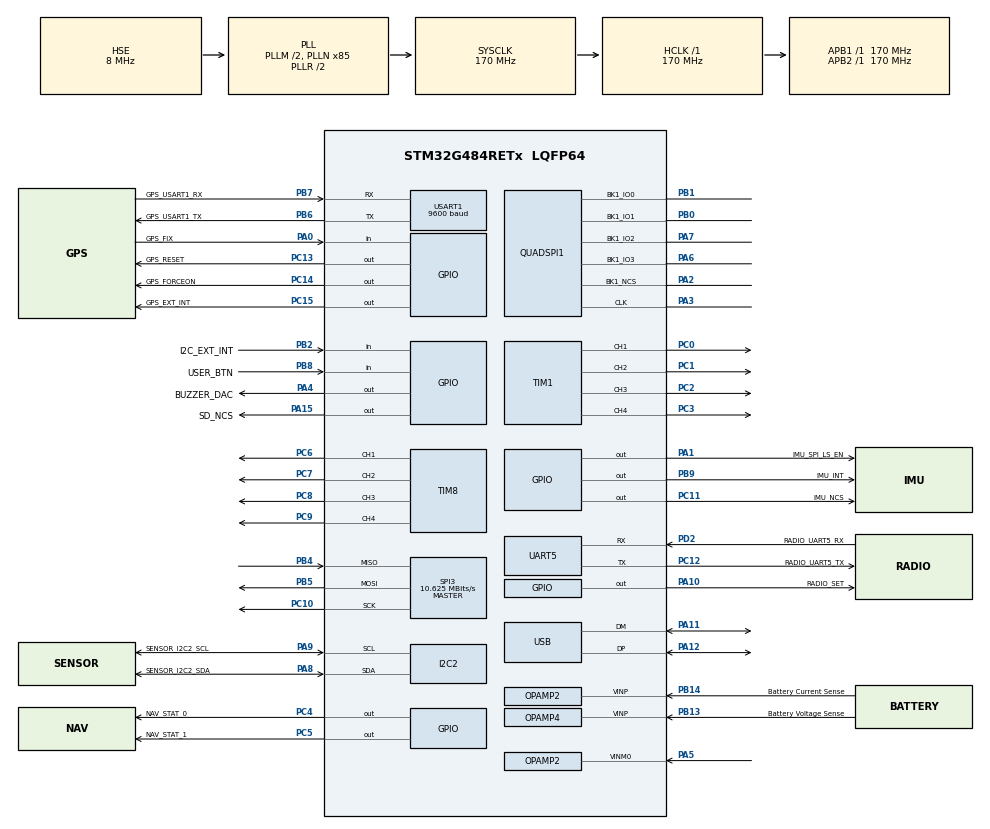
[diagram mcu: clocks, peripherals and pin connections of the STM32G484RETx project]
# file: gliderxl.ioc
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ADC2.Channel-1\#ChannelRegularConversion=ADC_CHANNEL_VOPAMP2
ADC2.ClockPrescaler=ADC_CLOCK_SYNC_PCLK_DIV4
ADC2.ContinuousConvMode=ENABLE
ADC2.NbrOfConversion=1
ADC2.NbrOfConversionFlag=1
ADC2.OffsetNumber-1\#ChannelRegularConversion=ADC_OFFSET_NONE
ADC2.Rank-1\#ChannelRegularConversion=1
ADC2.SamplingTime-1\#ChannelRegularConversion=ADC_SAMPLETIME_2CYCLES_5
ADC5.Channel-0\#ChannelRegularConversion=ADC_CHANNEL_VOPAMP4
ADC5.ClockPrescaler=ADC_CLOCK_SYNC_PCLK_DIV4
ADC5.ContinuousConvMode=ENABLE
ADC5.NbrOfConversionFlag=1
ADC5.OffsetNumber-0\#ChannelRegularConversion=ADC_OFFSET_NONE
ADC5.Rank-0\#ChannelRegularConversion=1
ADC5.SamplingTime-0\#ChannelRegularConversion=ADC_SAMPLETIME_2CYCLES_5
Dma.Request0=SPI3_RX
Dma.Request1=SPI3_TX
Dma.SPI3_RX.0.Direction=DMA_PERIPH_TO_MEMORY
Dma.SPI3_RX.0.EventEnable=DISABLE
Dma.SPI3_RX.0.Instance=DMA1_Channel2
Dma.SPI3_RX.0.MemDataAlignment=DMA_MDATAALIGN_BYTE
Dma.SPI3_RX.0.MemInc=DMA_MINC_ENABLE
Dma.SPI3_RX.0.Mode=DMA_NORMAL
Dma.SPI3_RX.0.PeriphDataAlignment=DMA_PDATAALIGN_BYTE
Dma.SPI3_RX.0.PeriphInc=DMA_PINC_DISABLE
Dma.SPI3_RX.0.Polarity=HAL_DMAMUX_REQ_GEN_RISING
Dma.SPI3_RX.0.Priority=DMA_PRIORITY_LOW
Dma.SPI3_RX.0.RequestNumber=1
Dma.SPI3_RX.0.SignalID=NONE
Dma.SPI3_RX.0.SyncEnable=DISABLE
Dma.SPI3_RX.0.SyncPolarity=HAL_DMAMUX_SYNC_NO_EVENT
Dma.SPI3_RX.0.SyncRequestNumber=1
Dma.SPI3_RX.0.SyncSignalID=NONE
Dma.SPI3_TX.1.Direction=DMA_MEMORY_TO_PERIPH
Dma.SPI3_TX.1.EventEnable=DISABLE
Dma.SPI3_TX.1.Instance=DMA1_Channel3
Dma.SPI3_TX.1.MemDataAlignment=DMA_MDATAALIGN_BYTE
Dma.SPI3_TX.1.MemInc=DMA_MINC_ENABLE
Dma.SPI3_TX.1.Mode=DMA_NORMAL
Dma.SPI3_TX.1.PeriphDataAlignment=DMA_PDATAALIGN_BYTE
Dma.SPI3_TX.1.PeriphInc=DMA_PINC_DISABLE
Dma.SPI3_TX.1.Polarity=HAL_DMAMUX_REQ_GEN_RISING
Dma.SPI3_TX.1.Priority=DMA_PRIORITY_LOW
Dma.SPI3_TX.1.RequestNumber=1
Dma.SPI3_TX.1.SignalID=NONE
Dma.SPI3_TX.1.SyncEnable=DISABLE
Dma.SPI3_TX.1.SyncPolarity=HAL_DMAMUX_SYNC_NO_EVENT
Dma.SPI3_TX.1.SyncRequestNumber=1
Dma.SPI3_TX.1.SyncSignalID=NONE
I2C2.Timing=0x30A0A7FB
Mcu.Family=STM32G4
Mcu.Name=STM32G484RETx
Mcu.Package=LQFP64
NVIC.DMA1_Channel2_IRQn=true\:0\:0\:false\:false\:true\:false\:true
NVIC.DMA1_Channel3_IRQn=true\:0\:0\:false\:false\:true\:false\:true
NVIC.PriorityGroup=NVIC_PRIORITYGROUP_4
NVIC.TIM6_DAC_IRQn=true\:0\:0\:false\:false\:true\:false\:true
NVIC.USART1_IRQn=true\:0\:0\:false\:false\:true\:true\:true
NVIC.USB_LP_IRQn=true\:0\:0\:false\:false\:true\:false\:true
OPAMP2.PgaGain=OPAMP_PGA_GAIN_4_OR_MINUS_3
PA0.GPIO_Label=GPS_FIX
PA0.Signal=GPIO_Input
PA1.GPIO_Label=IMU_SPI_LS_EN
PA1.Signal=GPIO_Output
PA10.GPIO_Label=RADIO_SET
PA10.Signal=GPIO_Output
PA11.Mode=Device
PA11.Signal=USB_DM
PA12.Mode=Device
PA12.Signal=USB_DP
PA13.Mode=Trace_Asynchronous_SW
PA13.Signal=SYS_JTMS-SWDIO
PA14.Mode=Trace_Asynchronous_SW
PA14.Signal=SYS_JTCK-SWCLK
PA15.GPIO_Label=SD_NCS
PA15.Signal=GPIO_Output
PA2.GPIO_PuPd=GPIO_PULLUP
PA2.GPIO_Speed=GPIO_SPEED_FREQ_VERY_HIGH
PA2.Mode=Single Bank 1
PA2.Signal=QUADSPI1_BK1_NCS
PA3.GPIO_PuPd=GPIO_NOPULL
PA3.GPIO_Speed=GPIO_SPEED_FREQ_VERY_HIGH
PA3.Mode=Single Bank 1
PA3.Signal=QUADSPI1_CLK
PA4.GPIO_Label=BUZZER_DAC
PA4.Signal=GPIO_Output
PA5.Mode=PGA_Internally_Connected
PA5.Signal=OPAMP2_VINM0
PA6.GPIO_PuPd=GPIO_NOPULL
PA6.GPIO_Speed=GPIO_SPEED_FREQ_VERY_HIGH
PA6.Mode=Single Bank 1
PA6.Signal=QUADSPI1_BK1_IO3
PA7.GPIO_Speed=GPIO_SPEED_FREQ_VERY_HIGH
PA7.Mode=Single Bank 1
PA7.Signal=QUADSPI1_BK1_IO2
PA8.GPIO_Label=SENSOR_I2C2_SDA
PA8.Mode=I2C
PA8.Signal=I2C2_SDA
PA9.GPIO_Label=SENSOR_I2C2_SCL
PA9.Mode=I2C
PA9.Signal=I2C2_SCL
PB0.GPIO_Speed=GPIO_SPEED_FREQ_VERY_HIGH
PB0.Mode=Single Bank 1
PB0.Signal=QUADSPI1_BK1_IO1
PB1.GPIO_Speed=GPIO_SPEED_FREQ_VERY_HIGH
PB1.Mode=Single Bank 1
PB1.Signal=QUADSPI1_BK1_IO0
PB11.GPIO_Label=HPS_A_TIM2_CH4
PB11.Signal=S_TIM2_CH4
PB12.GPIO_Label=HPS Current Sense A
PB12.Signal=OPAMP6_VINP
PB13.GPIO_Label=Battery Voltage Sense
PB13.Mode=Follower_Internally_Connected
PB13.Signal=OPAMP4_VINP
PB14.GPIO_Label=Battery Current Sense
PB14.Mode=PGA_Internally_Connected
PB14.Signal=OPAMP2_VINP
PB2.GPIO_Label=I2C_EXT_INT
PB2.Signal=GPIO_Input
PB3.Mode=Trace_Asynchronous_SW
PB3.Signal=SYS_JTDO-SWO
PB4.Mode=Full_Duplex_Master
PB4.Signal=SPI3_MISO
PB5.Mode=Full_Duplex_Master
PB5.Signal=SPI3_MOSI
PB6.GPIO_Label=GPS_USART1_TX
PB6.Mode=Asynchronous
PB6.Signal=USART1_TX
PB6.Stacked=true
PB7.GPIO_Label=GPS_USART1_RX
PB7.Mode=Asynchronous
PB7.Signal=USART1_RX
PB7.Stacked=true
PB8-BOOT0.GPIO_Label=USER_BTN
PB8-BOOT0.Signal=GPIO_Input
PB9.GPIO_Label=IMU_INT
PB9.Signal=GPIO_Output
PC0.Signal=S_TIM1_CH1
PC0.Stacked=true
PC1.Signal=S_TIM1_CH2
PC1.Stacked=true
PC10.Mode=Full_Duplex_Master
PC10.Signal=SPI3_SCK
PC11.GPIO_Label=IMU_NCS
PC11.PinState=GPIO_PIN_SET
PC11.Signal=GPIO_Output
PC12.GPIO_Label=RADIO_UART5_TX
PC12.Mode=Asynchronous
PC12.Signal=UART5_TX
PC13.GPIO_Label=GPS_RESET
PC13.Signal=GPIO_Output
PC14-OSC32_IN.GPIO_Label=GPS_FORCEON
PC14-OSC32_IN.Signal=GPIO_Output
PC15-OSC32_OUT.GPIO_Label=GPS_EXT_INT
PC15-OSC32_OUT.Signal=GPIO_Output
PC2.Signal=S_TIM1_CH3
PC2.Stacked=true
PC3.Signal=S_TIM1_CH4
PC4.GPIO_Label=NAV_STAT_0
PC4.Signal=GPIO_Output
PC5.GPIO_Label=NAV_STAT_1
PC5.Signal=GPIO_Output
PC6.Signal=S_TIM8_CH1
PC6.Stacked=true
PC7.Signal=S_TIM8_CH2
PC7.Stacked=true
PC8.Signal=S_TIM8_CH3
PC8.Stacked=true
PC9.Signal=S_TIM8_CH4
PC9.Stacked=true
PD2.GPIO_Label=RADIO_UART5_RX
PD2.Mode=Asynchronous
PD2.Signal=UART5_RX
PF0-OSC_IN.Mode=HSE-External-Oscillator
PF0-OSC_IN.Signal=RCC_OSC_IN
PF1-OSC_OUT.Mode=HSE-External-Oscillator
PF1-OSC_OUT.Signal=RCC_OSC_OUT
ProjectManager.HeapSize=0x200
ProjectManager.StackSize=0x400
ProjectManager.TargetToolchain=Makefile
QUADSPI1.ClockPrescaler=2
RCC.ADC12Freq_Value=170000000
RCC.ADC345Freq_Value=170000000
RCC.AHBFreq_Value=170000000
RCC.APB1Freq_Value=170000000
RCC.APB1TimFreq_Value=170000000
RCC.APB2Freq_Value=170000000
RCC.APB2TimFreq_Value=170000000
RCC.CK48CLockSelection=RCC_USBCLKSOURCE_HSI48
RCC.CortexFreq_Value=170000000
RCC.EXTERNAL_CLOCK_VALUE=12288000
RCC.HCLKFreq_Value=170000000
RCC.HSE_VALUE=8000000
RCC.HSI48_VALUE=48000000
RCC.HSI_VALUE=16000000
RCC.LSE_VALUE=32768
RCC.PLLM=RCC_PLLM_DIV2
RCC.PLLN=85
RCC.PLLP=RCC_PLLP_DIV4
RCC.PLLSourceVirtual=RCC_PLLSOURCE_HSE
RCC.QSPICLockSelection=RCC_QSPICLKSOURCE_PLL
RCC.SYSCLKFreq_VALUE=170000000
RCC.SYSCLKSource=RCC_SYSCLKSOURCE_PLLCLK
RCC.USBFreq_Value=48000000
RCC.VCOOutputFreq_Value=340000000
SH.S_TIM1_CH1.0=TIM1_CH1,PWM Generation1 CH1
SH.S_TIM1_CH2.0=TIM1_CH2,PWM Generation2 CH2
SH.S_TIM1_CH3.0=TIM1_CH3,PWM Generation3 CH3
SH.S_TIM1_CH4.0=TIM1_CH4,PWM Generation4 CH4
SH.S_TIM2_CH4.0=TIM2_CH4
SH.S_TIM8_CH1.0=TIM8_CH1,PWM Generation1 CH1
SH.S_TIM8_CH2.0=TIM8_CH2,PWM Generation2 CH2
SH.S_TIM8_CH3.0=TIM8_CH3,PWM Generation3 CH3
SH.S_TIM8_CH4.0=TIM8_CH4,PWM Generation4 CH4
SPI3.BaudRatePrescaler=SPI_BAUDRATEPRESCALER_16
SPI3.CLKPhase=SPI_PHASE_1EDGE
SPI3.CalculateBaudRate=10.625 MBits/s
SPI3.DataSize=SPI_DATASIZE_8BIT
SPI3.Direction=SPI_DIRECTION_2LINES
SPI3.Mode=SPI_MODE_MASTER
SPI3.NSSPMode=SPI_NSS_PULSE_ENABLE
SPI3.VirtualType=VM_MASTER
SYS.VoltageScaling=SYSCFG_VREFBUF_VOLTAGE_SCALE1
TIM1.Channel-PWM\ Generation1\ CH1=TIM_CHANNEL_1
TIM1.Channel-PWM\ Generation2\ CH2=TIM_CHANNEL_2
TIM1.Channel-PWM\ Generation3\ CH3=TIM_CHANNEL_3
TIM1.Channel-PWM\ Generation4\ CH4=TIM_CHANNEL_4
TIM20.Channel-Output\ Compare6\ No\ Output=TIM_CHANNEL_6
TIM8.Channel-PWM\ Generation1\ CH1=TIM_CHANNEL_1
TIM8.Channel-PWM\ Generation2\ CH2=TIM_CHANNEL_2
TIM8.Channel-PWM\ Generation3\ CH3=TIM_CHANNEL_3
TIM8.Channel-PWM\ Generation4\ CH4=TIM_CHANNEL_4
USART1.BaudRate=9600
USART1.VirtualMode-Asynchronous=VM_ASYNC
USB_DEVICE.CLASS_NAME_FS=CDC
USB_DEVICE.VirtualMode=Cdc
USB_DEVICE.VirtualModeFS=Cdc_FS
VP_ADC2_OPAMP_INTERNAL2.Mode=IN-OPAMP2
VP_ADC5_OPAMP_INTERNAL4.Mode=IN-OPAMP4
VP_DAC3_VS_DACI1.Mode=DAC_OUT1_Int
VP_FATFS_VS_Generic.Mode=User_defined
VP_SYS_VS_DBSignals.Mode=DisableDeadBatterySignals
VP_TIM20_VS_no_output6.Mode=Output Compare6 No Output
VP_USB_DEVICE_VS_USB_DEVICE_CDC_FS.Mode=CDC_FS
VREF+.Mode=InternalMode
VREF+.Signal=VREFBUF_OUT
board=custom

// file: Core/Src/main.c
/* USER CODE BEGIN Header */
/**
  ******************************************************************************
  * @file           : main.c
  * @brief          : Main program body
  ******************************************************************************
  * @attention
  *
  * <h2><center>&copy; Copyright (c) 2021 STMicroelectronics.
  * All rights reserved.</center></h2>
  *
  * This software component is licensed by ST under BSD 3-Clause license,
  * the "License"; You may not use this file except in compliance with the
  * License. You may obtain a copy of the License at:
  *                        opensource.org/licenses/BSD-3-Clause
  *
  ******************************************************************************
  */
/* USER CODE END Header */
#include "main.h"
#include "adc.h"
#include "dac.h"
#include "dma.h"
#include "app_fatfs.h"
#include "i2c.h"
#include "opamp.h"
#include "quadspi.h"
#include "spi.h"
#include "tim.h"
#include "usart.h"
#include "usb_device.h"
#include "gpio.h"

/* USER CODE BEGIN Includes */
#include <stdio.h>
#include <string.h>
#include <stdarg.h>
#include "ICM_20948_C.h"
#include <math.h>
#include "ssd1306.h"
#include "ssd1306_tests.h"
#include "ms5637.h"
#include "lwgps.h"
#include "lwrb.h"
/* USER CODE END Includes */

/* USER CODE BEGIN PD */
//#define USE_SPI
ICM_20948_Status_e my_write_spi(uint8_t reg, uint8_t* data, uint32_t len, void* user) {
  HAL_GPIO_WritePin(IMU_NCS_GPIO_Port, IMU_NCS_Pin, GPIO_PIN_RESET);
  uint8_t wa = (reg & 0x7F);
  HAL_SPI_Transmit(&hspi3, &wa, 1, 100);
  HAL_SPI_Transmit(&hspi3, data, len, 100);
  HAL_GPIO_WritePin(IMU_NCS_GPIO_Port, IMU_NCS_Pin, GPIO_PIN_SET);
  return ICM_20948_Stat_Ok;
}
ICM_20948_Status_e my_read_spi(uint8_t reg, uint8_t* buff, uint32_t len, void* user) {
  HAL_GPIO_WritePin(IMU_NCS_GPIO_Port, IMU_NCS_Pin, GPIO_PIN_RESET);
  uint8_t ra = (reg | 0x80);
  HAL_SPI_Transmit(&hspi3, &ra, 1, 100);
  HAL_SPI_Receive(&hspi3, buff, len, 100);
  HAL_GPIO_WritePin(IMU_NCS_GPIO_Port, IMU_NCS_Pin, GPIO_PIN_SET);
  return ICM_20948_Stat_Ok;
}
const ICM_20948_Serif_t mySerif = {my_write_spi, my_read_spi};
/* USER CODE END PD */

/* USER CODE BEGIN PV */
ICM_20948_Device_t myICM;
lwgps_t hgps;
lwrb_t hgps_buff;
uint8_t hgps_buff_data[512];
FATFS FatFS;
FIL fil;
FRESULT fres;

volatile uint8_t update_sensors = 0;
volatile uint8_t update_screen = 0;
volatile uint8_t update_log = 0;
volatile uint32_t timebase = 0;
/* USER CODE END PV */

void SystemClock_Config(void);

/* USER CODE BEGIN 0 */
void myprintf(const char *fmt, ...) {
  static char buffer[256];
  va_list args;
  va_start(args, fmt);
  vsnprintf(buffer, sizeof(buffer), fmt, args);
  va_end(args);

  int len = strlen(buffer);
  CDC_Transmit_FS(buffer, len);
}
/* USER CODE END 0 */

int main(void)
{

  /* MCU Configuration--------------------------------------------------------*/

  /* Reset of all peripherals, Initializes the Flash interface and the Systick. */
  HAL_Init();

  /* Configure the system clock */
  SystemClock_Config();

  /* Initialize all configured peripherals */
  MX_GPIO_Init();
  MX_DMA_Init();
  MX_QUADSPI1_Init();
  MX_SPI3_Init();
  MX_TIM8_Init();
  MX_ADC2_Init();
  MX_DAC3_Init();
  MX_OPAMP2_Init();
  MX_OPAMP4_Init();
  MX_TIM1_Init();
  MX_TIM20_Init();
  if (MX_FATFS_Init() != APP_OK) {
    Error_Handler();
  }
  MX_UART5_Init();
  MX_I2C2_Init();
  MX_USB_Device_Init();
  MX_USART1_UART_Init();
  MX_ADC5_Init();
  /* USER CODE BEGIN 2 */

  HAL_GPIO_WritePin(BUZZER_DAC_GPIO_Port, BUZZER_DAC_Pin, GPIO_PIN_RESET);
  HAL_GPIO_WritePin(GPS_RESET_GPIO_Port, GPS_RESET_Pin, GPIO_PIN_SET);
  HAL_GPIO_WritePin(GPS_FORCEON_GPIO_Port, GPS_FORCEON_Pin, GPIO_PIN_SET);
  HAL_GPIO_WritePin(GPS_EXT_INT_GPIO_Port, GPS_EXT_INT_Pin, GPIO_PIN_SET);

  HAL_GPIO_WritePin(SD_NCS_GPIO_Port, SD_NCS_Pin, GPIO_PIN_SET);
  HAL_GPIO_WritePin(IMU_NCS_GPIO_Port, IMU_NCS_Pin, GPIO_PIN_SET);
  HAL_GPIO_WritePin(IMU_SPI_LS_EN_GPIO_Port, IMU_SPI_LS_EN_Pin, GPIO_PIN_SET);
  HAL_Delay(100);

  myICM._dmp_firmware_available = true;
  myICM._firmware_loaded = false;
  myICM._last_bank = 255;
  myICM._last_mems_bank = 255;
  myICM._gyroSF = 0;
  myICM._gyroSFpll = 0;
  myICM._enabled_Android_0 = 0;
	myICM._enabled_Android_1 = 0;
  myICM._enabled_Android_intr_0 = 0;
	myICM._enabled_Android_intr_1 = 0;

  ICM_20948_link_serif( &myICM, &mySerif);

  HAL_GPIO_WritePin(GPIOC, GPIO_PIN_5, GPIO_PIN_SET);

  ssd1306_Init();

  ssd1306_SetContrast(0);

  HAL_Delay(500);

  ssd1306_Fill(Black);
  ssd1306_SetCursor(20,7);
  ssd1306_WriteString("Swansong", Font_11x18, White);
  ssd1306_UpdateScreen();

  for(int c = 0; c < 255; c++) {
    ssd1306_SetContrast(c);
    HAL_Delay(10);
  }

  HAL_Delay(500);

  ssd1306_Fill(Black);
  ssd1306_SetCursor(0,0);
  ssd1306_WriteString("Configure SD Card", Font_6x8, White);
  ssd1306_UpdateScreen();

  // Make sure FatFS struct is clean
  memset(&FatFS, 0, sizeof(FATFS));

  if(f_mount(&FatFS, "", 1) != FR_OK) {
    f_mount(NULL, "", 0);
    ssd1306_SetCursor(0,8);
    ssd1306_WriteString("Mount Failed", Font_6x8, White);
    ssd1306_UpdateScreen();
    while(1) {HAL_PWR_EnterSTOPMode(PWR_MAINREGULATOR_ON, PWR_STOPENTRY_WFE);}
  }
  ssd1306_SetCursor(0,8);
  ssd1306_WriteString("Filesystem Mounted", Font_6x8, White);
  ssd1306_UpdateScreen();

  //Let's get some statistics from the SD card
  DWORD free_clusters, free_sectors, total_sectors;

  FATFS* getFreeFs;
  fres = f_getfree("", &free_clusters, &getFreeFs);
  if (fres != FR_OK) { while(1){} }

  //Formula comes from ChaN's documentation
  total_sectors = (getFreeFs->n_fatent - 2) * getFreeFs->csize;
  free_sectors = free_clusters * getFreeFs->csize;

  char sdstr[16];
  sprintf(sdstr, "%lu/%luMiB Used", (total_sectors-free_sectors) / 2000, total_sectors / 2000);
  ssd1306_SetCursor(0,16);
  ssd1306_WriteString(sdstr, Font_6x8, White);
  ssd1306_UpdateScreen();

  HAL_Delay(1000);
  ssd1306_Fill(Black);
  ssd1306_SetCursor(0,0);
  ssd1306_WriteString("Configure ICM20948", Font_6x8, White);
  ssd1306_UpdateScreen();

  myprintf("\r\nICM 20948 Setup\r\n");
  if(ICM_20948_check_id( &myICM ) == ICM_20948_Stat_Ok) {
    myprintf("- Read ID - PASS\r\n");
  } else {
    myprintf("- Read ID - FAIL (Remove Board Power)\r\n"); // TODO: Try a software reset?
    while(1) {};
  }

  if(ICM_20948_sw_reset( &myICM) == ICM_20948_Stat_Ok) {
    myprintf("- SW Reset - PASS\r\n");
  } else {
    myprintf("- SW Reset - FAIL\r\n"); // TODO: Try a software reset?
    while(1) {};
  }
  HAL_Delay(500);

  if(ICM_20948_sleep( &myICM, false ) == ICM_20948_Stat_Ok) {
    myprintf("- Wake from Sleep - PASS\r\n");
  } else {
    myprintf("- Wake from Sleep - FAIL\r\n"); // TODO: Try a software reset?
    while(1) {};
  }

  if(ICM_20948_low_power( &myICM, false ) == ICM_20948_Stat_Ok) {
    myprintf("- Full power mode - PASS\r\n");
  } else {
    myprintf("- Full power mode - FAIL\r\n"); // TODO: Try a software reset?
    while(1) {};
  }

  if(ICM_20948_i2c_master_passthrough( &myICM, false ) == ICM_20948_Stat_Ok) {
    myprintf("- Disable I2C Passthrough - PASS\r\n");
  } else {
    myprintf("- Disable I2C Passthrough - FAIL\r\n");
    while(1) {};
  }

  if(ICM_20948_i2c_master_enable( &myICM, true ) == ICM_20948_Stat_Ok) {
    myprintf("- Enable I2C Master - PASS\r\n");
  } else {
    myprintf("- Enable I2C Master - FAIL\r\n");
    while(1) {};
  }

  ssd1306_SetCursor(0,8);
  ssd1306_WriteString("Configure AK09916", Font_6x8, White);
  ssd1306_UpdateScreen();

  uint8_t AK09916_whoiam = 0;
  int ak_tries = 0;
  while(AK09916_whoiam != (MAG_AK09916_WHO_AM_I & 0xFF)) {

    if(ICM_20948_i2c_master_reset( &myICM ) == ICM_20948_Stat_Ok) {
      myprintf("- I2C Master Reset - PASS\r\n");
    } else {
      myprintf("- I2C Master Reset - FAIL\r\n");
      while(1) {};
    }

    HAL_Delay(500);

    ICM_20948_i2c_master_single_r( &myICM, MAG_AK09916_I2C_ADDR, AK09916_REG_WIA2, &AK09916_whoiam);
    myprintf("- AK09916 WHOIAM - 0x%02x - 0x%02x\r\n", AK09916_whoiam, MAG_AK09916_WHO_AM_I & 0xFF);

    char trystr[10];
    sprintf(trystr, "Tries: %d", ak_tries);
    ssd1306_SetCursor(0,16);
    ssd1306_WriteString(trystr, Font_6x8, White);
    ssd1306_UpdateScreen();

    ak_tries++;
    if(ak_tries > 5) {
      ssd1306_Fill(Black);
      ssd1306_SetCursor(0,16);
      ssd1306_WriteString("Cannot Find AK09916", Font_6x8, White);
      ssd1306_UpdateScreen();
      while(1) {HAL_PWR_EnterSTOPMode(PWR_MAINREGULATOR_ON, PWR_STOPENTRY_WFE);}
    }

  }

  AK09916_CNTL2_Reg_t regctrl2;
  regctrl2.MODE = AK09916_mode_cont_100hz;
  if(ICM_20948_i2c_master_single_w( &myICM, MAG_AK09916_I2C_ADDR, AK09916_REG_CNTL2, (uint8_t)&regctrl2) == ICM_20948_Stat_Ok) {
    myprintf("- AK09916 Configure Control 2 - PASS\r\n");
  } else {
    myprintf("- AK09916 Configure Control 2 - FAIL\r\n");
    while(1) {};
  }

  if(ICM_20948_i2c_controller_configure_peripheral( &myICM, 0, MAG_AK09916_I2C_ADDR, AK09916_REG_ST1, 9, true, true, false, false, false) == ICM_20948_Stat_Ok) {
    myprintf("- AK09916 Configure Status 1- PASS\r\n");
  } else {
    myprintf("- AK09916 Configure Status 1 - FAIL\r\n");
    while(1) {};
  }

  ssd1306_SetCursor(0,16);
  ssd1306_WriteString("Configured AK09916", Font_6x8, White);
  ssd1306_UpdateScreen();
  HAL_Delay(500);

  ssd1306_Fill(Black);
  ssd1306_SetCursor(0,0);
  ssd1306_WriteString("Configure ICM20948", Font_6x8, White);
  ssd1306_UpdateScreen();
  HAL_Delay(500);

  if( ICM_20948_set_clock_source( &myICM, ICM_20948_Clock_Auto ) == ICM_20948_Stat_Ok ) {
    myprintf("- Set Clock - PASS\r\n");
  } else {
    myprintf("- Set Clock - FAIL\r\n");
    while(1) {};
  }

  if( ICM_20948_set_bank( &myICM, 0 ) == ICM_20948_Stat_Ok ) {
    myprintf("- Set Bank 0 - PASS\r\n");
  } else {
    myprintf("- Set Bank 0 - FAIL\r\n");
    while(1) {};
  }

  uint8_t pwr_mgmt2 = 0x40;
  if ( ICM_20948_execute_w( &myICM, AGB0_REG_PWR_MGMT_2, &pwr_mgmt2, 1 ) == ICM_20948_Stat_Ok ) {
    myprintf("- Write Power Management 2 - PASS\r\n");
  } else {
    myprintf("- Write Power Management 2 - FAIL\r\n");
    while(1) {};
  }

  if ( ICM_20948_set_sample_mode( &myICM, (ICM_20948_Internal_Mst | ICM_20948_Internal_Acc | ICM_20948_Internal_Gyr), ICM_20948_Sample_Mode_Cycled) == ICM_20948_Stat_Ok ) {
    myprintf("- Set Sample Mode A G M - PASS\r\n");
  } else {
    myprintf("- Set Sample Mode A G M - FAIL\r\n");
    while(1) {};
  }

  if ( ICM_20948_enable_FIFO( &myICM, false) == ICM_20948_Stat_Ok ) {
    myprintf("- Disable FIFO - PASS\r\n");
  } else {
    myprintf("- Disable FIFO - FAIL\r\n");
    while(1) {};
  }

  if ( ICM_20948_enable_DMP( &myICM, false) == ICM_20948_Stat_Ok ) {
    myprintf("- Disable DMP - PASS\r\n");
  } else {
    myprintf("- Disable DMP - FAIL\r\n");
    while(1) {};
  }

  ICM_20948_fss_t myFSS;
  myFSS.a = gpm4;
  myFSS.g = dps2000;

  if ( ICM_20948_set_full_scale( &myICM, (ICM_20948_Internal_Acc | ICM_20948_Internal_Gyr), myFSS) == ICM_20948_Stat_Ok )  {
    myprintf("- Set Full Scale A G - PASS\r\n");
  } else {
    myprintf("- Set Full Scale A G - FAIL\r\n");
    while(1) {};
  }

  if( ICM_20948_set_bank( &myICM, 0 ) == ICM_20948_Stat_Ok ) {
    myprintf("- Set Bank 0 - PASS\r\n");
  } else {
    myprintf("- Set Bank 0 - FAIL\r\n");
    while(1) {};
  }

  uint8_t zero = 0;
  if ( ICM_20948_execute_w( &myICM, AGB0_REG_FIFO_EN_1, &zero, 1) == ICM_20948_Stat_Ok) {
    myprintf("- Set FIFO Enable 1 - PASS\r\n");
  } else {
    myprintf("- Set FIFO Enable 1 - FAIL\r\n");
    while(1) {};
  }

  if ( ICM_20948_execute_w( &myICM, AGB0_REG_FIFO_EN_2, &zero, 1) == ICM_20948_Stat_Ok) {
    myprintf("- Set FIFO Enable 2 - PASS\r\n");
  } else {
    myprintf("- Set FIFO Enable 2 - FAIL\r\n");
    while(1) {};
  }

  ssd1306_SetCursor(0,8);
  ssd1306_WriteString("Configure DMP", Font_6x8, White);
  ssd1306_UpdateScreen();
  HAL_Delay(500);

  // Disable data ready interrupt
  ICM_20948_INT_enable_t en;
  if ( ICM_20948_int_enable( &myICM, NULL, &en ) == ICM_20948_Stat_Ok ) {
    myprintf("- Read Data Ready Interrupt Enable - PASS\r\n");
  } else {
    myprintf("- Read Data Ready Interrupt Enable - FAIL\r\n");
    while(1) {};
  }
  en.RAW_DATA_0_RDY_EN = false;
  if ( ICM_20948_int_enable( &myICM, &en, &en ) == ICM_20948_Stat_Ok ) {
    myprintf("- Set Data Ready Interrupt Disable - PASS\r\n");
  } else {
    myprintf("- Set Data Ready Interrupt Disable - FAIL\r\n");
    while(1) {};
  }

  if ( ICM_20948_reset_FIFO( &myICM ) == ICM_20948_Stat_Ok ) {
    myprintf("- Reset FIFO - PASS\r\n");
  } else {
    myprintf("- Reset FIFO - FAIL\r\n");
    while(1) {};
  }

  ICM_20948_smplrt_t mySmplrt;
  mySmplrt.g = 19; // ODR is computed as follows: 1.1 kHz/(1+GYRO_SMPLRT_DIV[7:0]). 19 = 55Hz. InvenSense Nucleo example uses 19 (0x13).
  mySmplrt.a = 19; // ODR is computed as follows: 1.125 kHz/(1+ACCEL_SMPLRT_DIV[11:0]). 19 = 56.25Hz. InvenSense Nucleo example uses 19 (0x13).
  if ( ICM_20948_set_sample_rate( &myICM, (ICM_20948_Internal_Acc | ICM_20948_Internal_Gyr), mySmplrt ) == ICM_20948_Stat_Ok ) { // ** Note: comment this line to leave the sample rates at the maximum **
    myprintf("- Set Sample Rate A G - PASS\r\n");
  } else {
    myprintf("- Set Sample Rate A G - FAIL\r\n");
    while(1) {};
  }

  // Load DMP Firmware
  if ( ICM_20948_set_dmp_start_address( &myICM, DMP_START_ADDRESS) == ICM_20948_Stat_Ok ) {
    myprintf("- Set DMP Start Address - PASS\r\n");
  } else {
    myprintf("- Set DMP Start Address - FAIL\r\n");
    while(1) {};
  }

  if ( ICM_20948_firmware_load( &myICM ) == ICM_20948_Stat_Ok ) {
    myprintf("- Load DMP Firmware - PASS\r\n");
  } else {
    myprintf("- Load DMP Firmware - FAIL\r\n");
    while(1) {};
  }

  if ( ICM_20948_set_dmp_start_address( &myICM, DMP_START_ADDRESS) == ICM_20948_Stat_Ok ) {
    myprintf("- Set DMP Start Address Bytes - PASS\r\n");
  } else {
    myprintf("- Set DMP Start Address Bytes - FAIL\r\n");
    while(1) {};
  }

  ssd1306_SetCursor(0,16);
  ssd1306_WriteString("Bitstream Load", Font_6x8, White);
  ssd1306_UpdateScreen();
  HAL_Delay(500);

  if ( ICM_20948_set_bank( &myICM, 0) == ICM_20948_Stat_Ok ) {
    myprintf("- Set Bank 0 - PASS\r\n");
  } else {
    myprintf("- Set Bank 0 - FAIL\r\n");
    while(1) {};
  }

  uint8_t fix = 0x48;
  if ( ICM_20948_execute_w( &myICM, AGB0_REG_HW_FIX_DISABLE, &fix, 1) == ICM_20948_Stat_Ok) {
    myprintf("- Set HW Fix - PASS\r\n");
  } else {
    myprintf("- Set HW Fix - FAIL\r\n");
    while(1) {};
  }

  if ( ICM_20948_set_bank( &myICM, 0) == ICM_20948_Stat_Ok ) {
    myprintf("- Set Bank 0 - PASS\r\n");
  } else {
    myprintf("- Set Bank 0 - FAIL\r\n");
    while(1) {};
  }

  uint8_t fifoPrio = 0xE4;
  if ( ICM_20948_execute_w( &myICM, AGB0_REG_SINGLE_FIFO_PRIORITY_SEL, &fifoPrio, 1) == ICM_20948_Stat_Ok) {
    myprintf("- FIFO Priority Select - PASS\r\n");
  } else {
    myprintf("- FIFO Priority Select - FAIL\r\n");
    while(1) {};
  }

  const unsigned char accScale[4] = {0x04, 0x00, 0x00, 0x00};
  if ( inv_icm20948_write_mems( &myICM, ACC_SCALE, 4, accScale) == ICM_20948_Stat_Ok) {
    myprintf("- DMP Accelerometer Scale 1 Select - PASS\r\n");
  } else {
    myprintf("- DMP Accelerometer Scale 1 Select - FAIL\r\n");
    while(1) {};
  }
  const unsigned char accScale2[4] = {0x00, 0x04, 0x00, 0x00};
  if ( inv_icm20948_write_mems( &myICM, ACC_SCALE2, 4, accScale2) == ICM_20948_Stat_Ok) {
    myprintf("- DMP Accelerometer Scale 2 Select - PASS\r\n");
  } else {
    myprintf("- DMP Accelerometer Scale 2 Select - FAIL\r\n");
    while(1) {};
  }

  const unsigned char mountMultiplierZero[4] = {0x00, 0x00, 0x00, 0x00};
  const unsigned char mountMultiplierPlus[4] = {0x09, 0x99, 0x99, 0x99}; // Value taken from InvenSense Nucleo example
  const unsigned char mountMultiplierMinus[4] = {0xF6, 0x66, 0x66, 0x67}; // Value taken from InvenSense Nucleo example
  uint8_t cpass_mtx_stat = 1;
  cpass_mtx_stat &= ( inv_icm20948_write_mems( &myICM, CPASS_MTX_00, 4, &mountMultiplierPlus[0]) == ICM_20948_Stat_Ok);
  cpass_mtx_stat &= ( inv_icm20948_write_mems( &myICM, CPASS_MTX_01, 4, &mountMultiplierZero[0]) == ICM_20948_Stat_Ok);
  cpass_mtx_stat &= ( inv_icm20948_write_mems( &myICM, CPASS_MTX_02, 4, &mountMultiplierZero[0]) == ICM_20948_Stat_Ok);
  cpass_mtx_stat &= ( inv_icm20948_write_mems( &myICM, CPASS_MTX_10, 4, &mountMultiplierZero[0]) == ICM_20948_Stat_Ok);
  cpass_mtx_stat &= ( inv_icm20948_write_mems( &myICM, CPASS_MTX_11, 4, &mountMultiplierMinus[0]) == ICM_20948_Stat_Ok);
  cpass_mtx_stat &= ( inv_icm20948_write_mems( &myICM, CPASS_MTX_12, 4, &mountMultiplierZero[0]) == ICM_20948_Stat_Ok);
  cpass_mtx_stat &= ( inv_icm20948_write_mems( &myICM, CPASS_MTX_20, 4, &mountMultiplierZero[0]) == ICM_20948_Stat_Ok);
  cpass_mtx_stat &= ( inv_icm20948_write_mems( &myICM, CPASS_MTX_21, 4, &mountMultiplierZero[0]) == ICM_20948_Stat_Ok);
  cpass_mtx_stat &= ( inv_icm20948_write_mems( &myICM, CPASS_MTX_22, 4, &mountMultiplierMinus[0]) == ICM_20948_Stat_Ok);

  if(cpass_mtx_stat) {
    myprintf("- DMP Compass Mount Matrix Set - PASS\r\n");
  } else {
    myprintf("- DMP Compass Mount Matrix Set - Fail\r\n");
    while(1) {};
  }

  const unsigned char b2sMountMultiplierZero[4] = {0x00, 0x00, 0x00, 0x00};
  const unsigned char b2sMountMultiplierPlus[4] = {0x40, 0x00, 0x00, 0x00}; // Value taken from InvenSense Nucleo example
  uint8_t b2s_mtx_stat = 1;
  b2s_mtx_stat &= ( inv_icm20948_write_mems( &myICM, B2S_MTX_00, 4, &b2sMountMultiplierPlus[0]) == ICM_20948_Stat_Ok);
  b2s_mtx_stat &= ( inv_icm20948_write_mems( &myICM, B2S_MTX_01, 4, &b2sMountMultiplierZero[0]) == ICM_20948_Stat_Ok);
  b2s_mtx_stat &= ( inv_icm20948_write_mems( &myICM, B2S_MTX_02, 4, &b2sMountMultiplierZero[0]) == ICM_20948_Stat_Ok);
  b2s_mtx_stat &= ( inv_icm20948_write_mems( &myICM, B2S_MTX_10, 4, &b2sMountMultiplierZero[0]) == ICM_20948_Stat_Ok);
  b2s_mtx_stat &= ( inv_icm20948_write_mems( &myICM, B2S_MTX_11, 4, &b2sMountMultiplierPlus[0]) == ICM_20948_Stat_Ok);
  b2s_mtx_stat &= ( inv_icm20948_write_mems( &myICM, B2S_MTX_12, 4, &b2sMountMultiplierZero[0]) == ICM_20948_Stat_Ok);
  b2s_mtx_stat &= ( inv_icm20948_write_mems( &myICM, B2S_MTX_20, 4, &b2sMountMultiplierZero[0]) == ICM_20948_Stat_Ok);
  b2s_mtx_stat &= ( inv_icm20948_write_mems( &myICM, B2S_MTX_21, 4, &b2sMountMultiplierZero[0]) == ICM_20948_Stat_Ok);
  b2s_mtx_stat &= ( inv_icm20948_write_mems( &myICM, B2S_MTX_22, 4, &b2sMountMultiplierPlus[0]) == ICM_20948_Stat_Ok);

  if(b2s_mtx_stat) {
    myprintf("- B2S Mount Matrix Set - PASS\r\n");
  } else {
    myprintf("- B2S Mount Matrix Set - Fail\r\n");
    while(1) {};
  }

  if( inv_icm20948_set_gyro_sf( &myICM, 19, 3) == ICM_20948_Stat_Ok) { // 19 = 55Hz (see above), 3 = 2000dps (see above)
    myprintf("- DMP Gyroscope Sample Rate Select - PASS\r\n");
  } else {
    myprintf("- DMP Gyroscope Sample Rate Select - Fail\r\n");
    while(1) {};
  }

  const unsigned char gyroFullScale[4] = {0x10, 0x00, 0x00, 0x00}; // 2000dps : 2^28
  if ( inv_icm20948_write_mems( &myICM, GYRO_FULLSCALE, 4, gyroFullScale) == ICM_20948_Stat_Ok) {
    myprintf("- DMP Gyroscope Full Scale Select - PASS\r\n");
  } else {
    myprintf("- DMP Gyroscope Full Scale Select - Fail\r\n");
    while(1) {};
  }

  const unsigned char accelOnlyGain[4] = {0x03, 0xA4, 0x92, 0x49}; // 56Hz
  if ( inv_icm20948_write_mems( &myICM, ACCEL_ONLY_GAIN, 4, accelOnlyGain) == ICM_20948_Stat_Ok) {
    myprintf("- DMP Accelerometer Gain Select - PASS\r\n");
  } else {
    myprintf("- DMP Accelerometer Gain Select - Fail\r\n");
    while(1) {};
  }

  const unsigned char accelAlphaVar[4] = {0x34, 0x92, 0x49, 0x25}; // 56Hz
  if ( inv_icm20948_write_mems( &myICM, ACCEL_ALPHA_VAR, 4, accelAlphaVar) == ICM_20948_Stat_Ok) {
    myprintf("- DMP Accelerometer Alpha Select - PASS\r\n");
  } else {
    myprintf("- DMP Accelerometer Alpha Select - Fail\r\n");
    while(1) {};
  }

  const unsigned char accelAVar[4] = {0x0B, 0x6D, 0xB6, 0xDB}; // 56Hz
  if ( inv_icm20948_write_mems( &myICM, ACCEL_A_VAR, 4, accelAVar) == ICM_20948_Stat_Ok) {
    myprintf("- DMP Accelerometer A Var Select - PASS\r\n");
  } else {
    myprintf("- DMP Accelerometer A Var Select - Fail\r\n");
    while(1) {};
  }

  const unsigned char accelCalRate[4] = {0x00, 0x00};
  if ( inv_icm20948_write_mems( &myICM, ACCEL_CAL_RATE, 2, accelCalRate) == ICM_20948_Stat_Ok) {
    myprintf("- DMP Accelerometer Calibration Rate Select - PASS\r\n");
  } else {
    myprintf("- DMP Accelerometer Calibration Rate Select - Fail\r\n");
    while(1) {};
  }

  const unsigned char compassRate[2] = {0x00, 0x64}; // 100Hz
  if ( inv_icm20948_write_mems( &myICM, CPASS_TIME_BUFFER, 2, compassRate) == ICM_20948_Stat_Ok) {
    myprintf("- DMP Compass Sample Rate Select - PASS\r\n");
  } else {
    myprintf("- DMP Compass Sample Rate Select - Fail\r\n");
    while(1) {};
  }

  //if ( inv_icm20948_enable_dmp_sensor( &myICM, INV_ICM20948_SENSOR_GEOMAGNETIC_ROTATION_VECTOR | INV_ICM20948_SENSOR_GAME_ROTATION_VECTOR | INV_ICM20948_SENSOR_ACCELEROMETER | INV_ICM20948_SENSOR_GYROSCOPE, 1) == ICM_20948_Stat_Ok) {
  if ( inv_icm20948_enable_dmp_sensor( &myICM, INV_ICM20948_SENSOR_ACCELEROMETER, 1) == ICM_20948_Stat_Ok) {
    myprintf("- DMP Enable Accelerometer - PASS\r\n");
  } else {
    myprintf("- DMP Enable Accelerometer - Fail\r\n");
    while(1) {};
  }
  if ( inv_icm20948_enable_dmp_sensor( &myICM, INV_ICM20948_SENSOR_ROTATION_VECTOR, 1) == ICM_20948_Stat_Ok) {
    myprintf("- DMP Enable Rotation Vector - PASS\r\n");
  } else {
    myprintf("- DMP Enable Rotation Vector - Fail\r\n");
    while(1) {};
  }
  /*if ( inv_icm20948_enable_dmp_sensor( &myICM, INV_ICM20948_SENSOR_GAME_ROTATION_VECTOR, 1) == ICM_20948_Stat_Ok) {
    myprintf("- DMP Enable GRV - PASS\r\n");
  } else {
    myprintf("- DMP Enable GRV - Fail\r\n");
    while(1) {};
  }/*
  /*if ( inv_icm20948_enable_dmp_sensor( &myICM, INV_ICM20948_SENSOR_GYROSCOPE, 1) == ICM_20948_Stat_Ok) {
    myprintf("- DMP Enable Gyroscope - PASS\r\n");
  } else {
    myprintf("- DMP Enable Gyroscope - Fail\r\n");
    while(1) {};
  }*/
  /*if ( inv_icm20948_enable_dmp_sensor( &myICM, INV_ICM20948_SENSOR_GEOMAGNETIC_FIELD, 1) == ICM_20948_Stat_Ok) {
    myprintf("- DMP Enable Geomagnetic Vector - PASS\r\n");
  } else {
    myprintf("- DMP Enable Geomagnetic Vector - Fail\r\n");
    while(1) {};
  }*/
  if ( inv_icm20948_set_dmp_sensor_period( &myICM, DMP_ODR_Reg_Accel, 0) == ICM_20948_Stat_Ok) {
    myprintf("- DMP Set Sensor Period - PASS\r\n");
  } else {
    myprintf("- DMP Set Sensor Period - Fail\r\n");
    while(1) {};
  }
  if ( inv_icm20948_set_dmp_sensor_period( &myICM, DMP_ODR_Reg_Quat9, 0) == ICM_20948_Stat_Ok) {
    myprintf("- DMP Set Sensor Period - PASS\r\n");
  } else {
    myprintf("- DMP Set Sensor Period - Fail\r\n");
    while(1) {};
  }
  /*if ( inv_icm20948_set_dmp_sensor_period( &myICM, DMP_ODR_Reg_Quat6, 0) == ICM_20948_Stat_Ok) {
    myprintf("- DMP Set Sensor Period - PASS\r\n");
  } else {
    myprintf("- DMP Set Sensor Period - Fail\r\n");
    while(1) {};
  }
  if ( inv_icm20948_set_dmp_sensor_period( &myICM, DMP_ODR_Reg_Cpass_Calibr, 2) == ICM_20948_Stat_Ok) {
    myprintf("- DMP Set Sensor Period - PASS\r\n");
  } else {
    myprintf("- DMP Set Sensor Period - Fail\r\n");
    while(1) {};
  }*/

  if ( ICM_20948_enable_FIFO( &myICM, 1) == ICM_20948_Stat_Ok ) {
    myprintf("- Enable FIFO - PASS\r\n");
  } else {
    myprintf("- Enable FIFO - Fail\r\n");
    while(1) {};
  }
  if ( ICM_20948_enable_DMP( &myICM, 1) == ICM_20948_Stat_Ok ) {
    myprintf("- Enable DMP - PASS\r\n");
  } else {
    myprintf("- Enable DMP - Fail\r\n");
    while(1) {};
  }

  ssd1306_SetCursor(0,16);
  ssd1306_WriteString("Configured DMP", Font_6x8, White);
  ssd1306_UpdateScreen();
  HAL_Delay(500);

  if ( ICM_20948_reset_DMP( &myICM ) == ICM_20948_Stat_Ok ) {
    myprintf("- Reset DMP - PASS\r\n");
  } else {
    myprintf("- Reset DMP - Fail\r\n");
    while(1) {};
  }
  if ( ICM_20948_reset_FIFO( &myICM ) == ICM_20948_Stat_Ok ) {
    myprintf("- Reset FIFO - PASS\r\n");
  } else {
    myprintf("- Reset FIFO - Fail\r\n");
    while(1) {};
  }

  ssd1306_Fill(Black);
  ssd1306_SetCursor(0,0);
  ssd1306_WriteString("Configure ICM20948", Font_6x8, White);
  ssd1306_SetCursor(0,8);
  ssd1306_WriteString("Configured ICM20948", Font_6x8, White);
  ssd1306_UpdateScreen();
  HAL_Delay(500);

  myprintf("\r\nICM 20948 DMP Enable - PASS\r\n");
  HAL_GPIO_WritePin(GPIOC, GPIO_PIN_5, GPIO_PIN_RESET);
  HAL_GPIO_WritePin(GPIOC, GPIO_PIN_4, GPIO_PIN_SET);

  ssd1306_Fill(Black);
  ssd1306_SetCursor(0,0);
  ssd1306_WriteString("Configure MS5637", Font_6x8, White);
  ssd1306_UpdateScreen();
  HAL_Delay(100);

  uint8_t i2c_buf[4];

  if(ms5637_is_connected() == false) {
    myprintf("No response from ms5637");
    ssd1306_SetCursor(0,8);
    ssd1306_WriteString("Cannot find MS5637", Font_6x8, White);
    ssd1306_UpdateScreen();
    HAL_Delay(250);
    while(1) {HAL_PWR_EnterSTOPMode(PWR_MAINREGULATOR_ON, PWR_STOPENTRY_WFE);}
  }
  ms5637_reset();
  float temperature = 0;
  float pressure = 0;
  float altitude = 0;

  ssd1306_SetCursor(0,8);
  ssd1306_WriteString("Configured MS5637", Font_6x8, White);
  ssd1306_UpdateScreen();

  HAL_Delay(1000);

  float avg_alt_sum = 0;
  uint32_t avg_batv_sum = 0;
  int avg_count = 0;
  float avg_alt = 0;
  uint32_t avg_batv = 0;

  char buf[32] = {0};
  uint8_t rx;

  ssd1306_Fill(Black);
  ssd1306_SetCursor(0,0);
  ssd1306_WriteString("Wait for GPS Fix", Font_6x8, White);
  ssd1306_UpdateScreen();
  HAL_Delay(100);

  __HAL_UART_ENABLE(&huart1);

  HAL_OPAMP_Start(&hopamp4);
  //HAL_OPAMP_Start(&hopamp2);

  lwgps_init(&hgps);
  lwrb_init(&hgps_buff, hgps_buff_data, 512);

  // Wait for a GPS fix to get UTC
  while(hgps.fix == false) {
    if (lwrb_get_full(&hgps_buff)) {        /* Check if anything in buffer now */
        while (lwrb_read(&hgps_buff, &rx, 1) == 1) {
            lwgps_process(&hgps, &rx, 1);
        }
    }
    sprintf(buf, "%2d/%2d", hgps.sats_in_use, hgps.sats_in_view);
    ssd1306_SetCursor(0,8);
    ssd1306_WriteString(buf, Font_6x8, White);
    ssd1306_UpdateScreen();
    HAL_Delay(250);
  }

  ssd1306_SetCursor(0,16);
  ssd1306_WriteString("Got GPS Fix", Font_6x8, White);
  ssd1306_UpdateScreen();
  HAL_Delay(250);

  sprintf(buf, "log%u%u.csv", (hgps.hours+1)%24, hgps.minutes);

  // Create file for logging
  fres = f_open(&fil, buf, FA_WRITE | FA_OPEN_ALWAYS | FA_CREATE_ALWAYS);
  if(fres != FR_OK) {
    ssd1306_SetCursor(0,24);
    ssd1306_WriteString(buf, Font_6x8, White);
    ssd1306_WriteString(" FAILED", Font_6x8, White);
    ssd1306_UpdateScreen();
    while(1) {};
  }

  ssd1306_SetCursor(0,24);
  ssd1306_WriteString(buf, Font_6x8, White);
  ssd1306_UpdateScreen();
  HAL_Delay(1000);

  __HAL_UART_ENABLE_IT(&huart1, UART_IT_RXNE);

  char logline[1024];

  uint16_t batv, bati;

  const float reftemp = 9.5f;
  const float refpres = 1029.3f;
  const float atmo_const = -29.27112;

  uint32_t rot_q1, rot_q2, rot_q3, rot_acc;
  uint32_t grv_q1, grv_q2, grv_q3;
  uint32_t acc_x, acc_y, acc_z;
  uint32_t gyr_x, gyr_y, gyr_z;
  uint32_t mag_x, mag_y, mag_z;

  rot_q1 = 0;
  rot_q2 = 0;
  rot_q3 = 0;
  rot_acc = 0;
  acc_x = 0;
  acc_y = 0;
  acc_z = 0;

  ICM_20948_Status_e read_stat;
  icm_20948_DMP_data_t data;

  /* USER CODE END 2 */

  /* Infinite loop */
  /* USER CODE BEGIN WHILE */
  while (HAL_GPIO_ReadPin(USER_BTN_GPIO_Port, USER_BTN_Pin) == GPIO_PIN_RESET)
  {
    /* USER CODE END WHILE */

    /* USER CODE BEGIN 3 */

    if(update_sensors) {
      HAL_ADC_Start(&hadc5);
      //HAL_ADC_Start(&hadc2); // Screwed up battery current sense hardware

      ms5637_read_temperature_and_pressure(&temperature, &pressure);
      HAL_ADC_PollForConversion(&hadc5, 1);
      batv = HAL_ADC_GetValue(&hadc5);

      // Screwed up battery current sense hardware
      // Only good for charging current not discharge :(
      // HAL_ADC_PollForConversion(&hadc2, 1);
      // bati = HAL_ADC_GetValue(&hadc2);

      altitude = (log(pressure)-log(refpres))*atmo_const*(reftemp+273.15);
      update_sensors = 0;
    }

    if (lwrb_get_full(&hgps_buff)) {        /* Check if anything in buffer now */
        while (lwrb_read(&hgps_buff, &rx, 1) == 1) {
            lwgps_process(&hgps, &rx, 1);
        }
    }

    if(update_screen) {
      update_screen = 0;
      ssd1306_Fill(Black);
      sprintf(buf, "%2.1fC %4.0fhPa %3.1fm", temperature, pressure, altitude );
      ssd1306_SetCursor(0,0);
      ssd1306_WriteString(buf, Font_6x8, White);
      sprintf(buf, "%1.2fV %2d/%2d %3.1fm", (float)((2.5/4096)*batv)*2.0, hgps.sats_in_use, hgps.sats_in_view, hgps.altitude);
      ssd1306_SetCursor(0,8);
      ssd1306_WriteString(buf, Font_6x8, White);
      sprintf(buf, "%.7f %.7f", hgps.latitude, hgps.longitude);
      ssd1306_SetCursor(0,16);
      ssd1306_WriteString(buf, Font_6x8, White);
      sprintf(buf, "%3.1f %3.0f %02d:%02d:%02d", hgps.speed*1.852, hgps.course, (hgps.hours+1)%24, hgps.minutes, hgps.seconds);
      ssd1306_SetCursor(0,24);
      ssd1306_WriteString(buf, Font_6x8, White);
      ssd1306_UpdateScreen();
    }

    //float qwqwMinusHalf = q0 * q0 - 0.5f; // calculate common terms to avoid repeated operations
    //float roll = atan2f(q2 * q3 - q0 * q1, qwqwMinusHalf + q3 * q3);
    //float pitch = -1.0f * asinf(2.0f * (q1 * q3 + q0 * q2));
    //float yaw = atan2f(q1 * q2 - q0 * q3, qwqwMinusHalf + q1 * q1);

    do {
    read_stat = inv_icm20948_read_dmp_data( &myICM, &data );
    if(read_stat == ICM_20948_Stat_Ok || read_stat == ICM_20948_Stat_FIFOMoreDataAvail ) {
      if( (data.header & DMP_header_bitmap_Quat9) > 0 ) {
        rot_q1 = (data.Quat9.Data.Q1);
        rot_q2 = (data.Quat9.Data.Q2);
        rot_q3 = (data.Quat9.Data.Q3);

        HAL_GPIO_TogglePin(GPIOC,GPIO_PIN_5);
      }
      /*if( (data.header & DMP_header_bitmap_Quat6) > 0 ) {
        grv_q1 = (data.Quat6.Data.Q1);
        grv_q2 = (data.Quat6.Data.Q2);
        grv_q3 = (data.Quat6.Data.Q3);

        HAL_GPIO_TogglePin(GPIOC,GPIO_PIN_5);
        //myprintf("Q6");
      }*/
      if( (data.header & DMP_header_bitmap_Accel) > 0 ) {
        acc_x = data.Raw_Accel.Data.X;
        acc_y = data.Raw_Accel.Data.Y;
        acc_z = data.Raw_Accel.Data.Z;

        HAL_GPIO_TogglePin(GPIOC,GPIO_PIN_5);
        //myprintf("A");
      }
      /*if( (data.header & DMP_header_bitmap_Gyro_Calibr) > 0) {
        gyr_x = data.Gyro_Calibr.Data.X;
        gyr_y = data.Gyro_Calibr.Data.Y;
        gyr_z = data.Gyro_Calibr.Data.Z;

        HAL_GPIO_TogglePin(GPIOC,GPIO_PIN_5);
        //myprintf("G");
      }
      if( (data.header & DMP_header_bitmap_Compass_Calibr) > 0) {
        mag_x = data.Compass_Calibr.Data.X;
        mag_y = data.Compass_Calibr.Data.Y;
        mag_z = data.Compass_Calibr.Data.Z;

        HAL_GPIO_TogglePin(GPIOC,GPIO_PIN_5);
        //myprintf("M");
      }*/
    }
    }while(read_stat == ICM_20948_Stat_FIFOMoreDataAvail);

    //myprintf("\r\n");

    if(update_log) {
      update_log = 0;
      sprintf(logline, "%u:%u:%u %d %d %.2f %.3f %.3f %.3f %.7f %.7f %.2f %.2f %u %u %.1f %.1f %.1f %lu %lu %lu %lu %lu %lu\r\n", hgps.hours, hgps.minutes, hgps.seconds, timebase, batv, temperature, pressure, altitude, hgps.altitude, hgps.latitude, hgps.longitude, hgps.speed, hgps.course, hgps.sats_in_use, hgps.sats_in_view, hgps.dop_h, hgps.dop_p, hgps.dop_v, rot_q1, rot_q2, rot_q3, acc_x, acc_y, acc_z);
      UINT bytesWrote;
      fres = f_write(&fil, logline, strlen(logline), &bytesWrote);
    }
    //HAL_Delay(500);
  }

  f_close(&fil);
  f_mount(NULL, "", 0);
  ssd1306_Fill(Black);
  ssd1306_SetCursor(0,0);
  ssd1306_WriteString("Saved Log File", Font_6x8, White);
  ssd1306_SetCursor(0,8);
  ssd1306_WriteString("Shutting Down", Font_6x8, White);
  ssd1306_UpdateScreen();

  for(int c = 255; c > 0; c--) {
    ssd1306_SetContrast(c);
    HAL_Delay(10);
  }

  ssd1306_SetDisplayOn(false);

  HAL_GPIO_WritePin(IMU_SPI_LS_EN_GPIO_Port, IMU_SPI_LS_EN_Pin, GPIO_PIN_RESET);
  HAL_GPIO_WritePin(NAV_STAT_0_GPIO_Port, NAV_STAT_0_Pin, GPIO_PIN_RESET);
  HAL_GPIO_WritePin(NAV_STAT_1_GPIO_Port, NAV_STAT_1_Pin, GPIO_PIN_RESET);
  HAL_GPIO_WritePin(GPS_FORCEON_GPIO_Port, GPS_FORCEON_Pin, GPIO_PIN_RESET);
  HAL_GPIO_WritePin(GPS_EXT_INT_GPIO_Port, GPS_EXT_INT_Pin, GPIO_PIN_RESET);
  HAL_GPIO_WritePin(GPS_RESET_GPIO_Port, GPS_RESET_Pin, GPIO_PIN_RESET);
  HAL_Delay(1);
  HAL_GPIO_WritePin(GPS_RESET_GPIO_Port, GPS_RESET_Pin, GPIO_PIN_SET);

  while(1) {HAL_PWR_EnterSTOPMode(PWR_MAINREGULATOR_ON, PWR_STOPENTRY_WFE);}

  /* USER CODE END 3 */
}

void SystemClock_Config(void)
{
  RCC_OscInitTypeDef RCC_OscInitStruct = {0};
  RCC_ClkInitTypeDef RCC_ClkInitStruct = {0};
  RCC_PeriphCLKInitTypeDef PeriphClkInit = {0};

  /** Configure the main internal regulator output voltage
  */
  HAL_PWREx_ControlVoltageScaling(PWR_REGULATOR_VOLTAGE_SCALE1_BOOST);
  /** Initializes the RCC Oscillators according to the specified parameters
  * in the RCC_OscInitTypeDef structure.
  */
  RCC_OscInitStruct.OscillatorType = RCC_OSCILLATORTYPE_HSI48|RCC_OSCILLATORTYPE_HSE;
  RCC_OscInitStruct.HSEState = RCC_HSE_ON;
  RCC_OscInitStruct.HSI48State = RCC_HSI48_ON;
  RCC_OscInitStruct.PLL.PLLState = RCC_PLL_ON;
  RCC_OscInitStruct.PLL.PLLSource = RCC_PLLSOURCE_HSE;
  RCC_OscInitStruct.PLL.PLLM = RCC_PLLM_DIV2;
  RCC_OscInitStruct.PLL.PLLN = 85;
  RCC_OscInitStruct.PLL.PLLP = RCC_PLLP_DIV4;
  RCC_OscInitStruct.PLL.PLLQ = RCC_PLLQ_DIV2;
  RCC_OscInitStruct.PLL.PLLR = RCC_PLLR_DIV2;
  if (HAL_RCC_OscConfig(&RCC_OscInitStruct) != HAL_OK)
  {
    Error_Handler();
  }
  /** Initializes the CPU, AHB and APB buses clocks
  */
  RCC_ClkInitStruct.ClockType = RCC_CLOCKTYPE_HCLK|RCC_CLOCKTYPE_SYSCLK
                              |RCC_CLOCKTYPE_PCLK1|RCC_CLOCKTYPE_PCLK2;
  RCC_ClkInitStruct.SYSCLKSource = RCC_SYSCLKSOURCE_PLLCLK;
  RCC_ClkInitStruct.AHBCLKDivider = RCC_SYSCLK_DIV1;
  RCC_ClkInitStruct.APB1CLKDivider = RCC_HCLK_DIV1;
  RCC_ClkInitStruct.APB2CLKDivider = RCC_HCLK_DIV1;

  if (HAL_RCC_ClockConfig(&RCC_ClkInitStruct, FLASH_LATENCY_4) != HAL_OK)
  {
    Error_Handler();
  }
  /** Initializes the peripherals clocks
  */
  PeriphClkInit.PeriphClockSelection = RCC_PERIPHCLK_USART1|RCC_PERIPHCLK_UART5
                              |RCC_PERIPHCLK_I2C2|RCC_PERIPHCLK_USB
                              |RCC_PERIPHCLK_ADC12|RCC_PERIPHCLK_ADC345
                              |RCC_PERIPHCLK_QSPI;
  PeriphClkInit.Usart1ClockSelection = RCC_USART1CLKSOURCE_PCLK2;
  PeriphClkInit.Uart5ClockSelection = RCC_UART5CLKSOURCE_PCLK1;
  PeriphClkInit.I2c2ClockSelection = RCC_I2C2CLKSOURCE_PCLK1;
  PeriphClkInit.UsbClockSelection = RCC_USBCLKSOURCE_HSI48;
  PeriphClkInit.Adc12ClockSelection = RCC_ADC12CLKSOURCE_SYSCLK;
  PeriphClkInit.Adc345ClockSelection = RCC_ADC345CLKSOURCE_SYSCLK;
  PeriphClkInit.QspiClockSelection = RCC_QSPICLKSOURCE_PLL;

  if (HAL_RCCEx_PeriphCLKConfig(&PeriphClkInit) != HAL_OK)
  {
    Error_Handler();
  }
}

/* USER CODE BEGIN 4 */
#define LINEMAX 512
void UART_GPS_Callback() {

  static char rx_buffer[LINEMAX + 1]; // Local holding buffer to build line, w/NUL
  static int rx_index = 0;

  if (USART1->ISR & USART_ISR_RXNE) // Received character?
  {

  char rx = (char)(USART1->RDR & 0xFF);
  if ((rx == '\r') || (rx == '\n')) // Is this an end-of-line condition, either will suffice?
  {
  if (rx_index != 0) // Line has some content?
  {
  rx_buffer[rx_index++] = rx; // Add Final Character
  rx_buffer[rx_index++] = 0; // Add NUL if required down stream
  lwrb_write(&hgps_buff, &rx_buffer, rx_index); // Copy to queue from live dynamic receive buffer
  rx_index = 0; // Reset content pointer
  }
  }
  else
  {
  if ((rx == '$') || (rx_index == LINEMAX)) // If resync or overflows pull back to start
  rx_index = 0;
  rx_buffer[rx_index++] = rx; // Copy to buffer and increment
  }
  }
  //USART1->CR1 |= USART_CR1_RXNEIE; // Enable Interrupt
}

void timebase_callback() {
  if((timebase % 1000) == 0) {
    update_screen = 1;
  }
  if((timebase % 100)) {
    update_sensors = 1;
  }
  if((timebase % 20)) {
    update_log = 1;
  }
  timebase++;
}

/* USER CODE END 4 */

void Error_Handler(void)
{
  __disable_irq();
  while (1)
  {
  }
}

/************************ (C) COPYRIGHT STMicroelectronics *****END OF FILE****/
